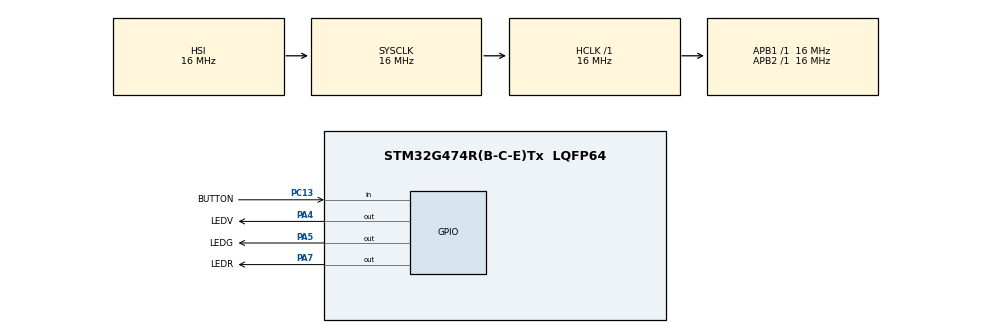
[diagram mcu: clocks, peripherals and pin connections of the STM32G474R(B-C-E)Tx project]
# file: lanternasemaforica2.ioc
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Mcu.Family=STM32G4
Mcu.Name=STM32G474R(B-C-E)Tx
Mcu.Package=LQFP64
NVIC.PriorityGroup=NVIC_PRIORITYGROUP_4
NVIC.TIM6_DAC_IRQn=true\:0\:0\:false\:false\:true\:true\:true\:true
PA4.GPIO_Label=LEDV
PA4.Signal=GPIO_Output
PA5.GPIO_Label=LEDG
PA5.Signal=GPIO_Output
PA7.GPIO_Label=LEDR
PA7.Signal=GPIO_Output
PC13.GPIO_Label=BUTTON
PC13.GPIO_PuPd=GPIO_NOPULL
PC13.Signal=GPIO_Input
ProjectManager.HeapSize=0x200
ProjectManager.StackSize=0x400
ProjectManager.TargetToolchain=STM32CubeIDE
RCC.AHBFreq_Value=16000000
RCC.APB1Freq_Value=16000000
RCC.APB1TimFreq_Value=16000000
RCC.APB2Freq_Value=16000000
RCC.APB2TimFreq_Value=16000000
RCC.CortexFreq_Value=16000000
RCC.EXTERNAL_CLOCK_VALUE=12288000
RCC.HCLKFreq_Value=16000000
RCC.HSE_VALUE=8000000
RCC.HSI48_VALUE=48000000
RCC.HSI_VALUE=16000000
RCC.LSE_VALUE=32768
RCC.SYSCLKFreq_VALUE=16000000
RCC.USBFreq_Value=64000000
RCC.VCOOutputFreq_Value=128000000
TIM6.PeriodNoDither=999
TIM6.Prescaler=15999
VP_SYS_VS_DBSignals.Mode=DisableDeadBatterySignals
VP_TIM6_VS_ClockSourceINT.Mode=Enable_Timer
board=custom

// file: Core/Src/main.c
/* USER CODE BEGIN Header */
/**
  ******************************************************************************
  * @file           : main.c
  * @brief          : Main program body
  ******************************************************************************
  * @attention
  *
  * Copyright (c) 2026 STMicroelectronics.
  * All rights reserved.
  *
  * This software is licensed under terms that can be found in the LICENSE file
  * in the root directory of this software component.
  * If no LICENSE file comes with this software, it is provided AS-IS.
  *
  ******************************************************************************
  */
/* USER CODE END Header */
#include "main.h"
#include "tim.h"
#include "gpio.h"

/* USER CODE BEGIN Includes */
#include "fsm_logic.h"
#include "tim.h"

/* USER CODE END Includes */

/* USER CODE BEGIN PD */
#define FSM_CYCLE_DURATION (10) //ogni 10 ms la funzione FSM_step viene chiamata

/* USER CODE END PD */

void SystemClock_Config(void);

int main(void)
{

  /* USER CODE BEGIN 1 */
  led_t led_rosso;
  led_t led_giallo;
  led_t led_verde;
  button_t button;
  timer_t timer;
  /* USER CODE END 1 */

  /* MCU Configuration--------------------------------------------------------*/
  /* Reset of all peripherals, Initializes the Flash interface and the Systick. */
  HAL_Init();

  /* Configure the system clock */
  SystemClock_Config();

  /* Initialize all configured peripherals */
  MX_GPIO_Init();
  MX_TIM6_Init();
  /* USER CODE BEGIN 2 */
  if(led_init(&led_rosso, LEDR_GPIO_Port, LEDR_Pin, LED_INIT_STATE_OFF)!=LED_OK){
    return -1;
  }
  if(led_init(&led_giallo, LEDG_GPIO_Port, LEDG_Pin, LED_INIT_STATE_OFF) != LED_OK){
    return -1;
  }
  if(led_init(&led_verde, LEDV_GPIO_Port, LEDV_Pin, LED_INIT_STATE_OFF) != LED_OK){
    return -1;
  }
  if(button_init(&button, BUTTON_GPIO_Port, BUTTON_Pin, BUTTON_INIT_STATE_OFF) != BUTTON_OK){
    return -1;
  }
  if(FSM_init(&led_rosso, &led_giallo, &led_verde, &button, &timer, FSM_CYCLE_DURATION) != FSM_OK){
    return -1;
  }
  if(timer_init(&timer, &htim6,16000000)!=TIMER_OK){
    return -1;
  }

  /* USER CODE END 2 */

  /* Infinite loop */
  /* USER CODE BEGIN WHILE */
  while (1)
  {
    if(FSM_step()!=FSM_OK){
      return -1;
    }
    /* USER CODE END WHILE */

  }
}

void SystemClock_Config(void)
{
  RCC_OscInitTypeDef RCC_OscInitStruct = {0};
  RCC_ClkInitTypeDef RCC_ClkInitStruct = {0};

  /** Configure the main internal regulator output voltage
  */
  HAL_PWREx_ControlVoltageScaling(PWR_REGULATOR_VOLTAGE_SCALE1);

  /** Initializes the RCC Oscillators according to the specified parameters
  * in the RCC_OscInitTypeDef structure.
  */
  RCC_OscInitStruct.OscillatorType = RCC_OSCILLATORTYPE_HSI;
  RCC_OscInitStruct.HSIState = RCC_HSI_ON;
  RCC_OscInitStruct.HSICalibrationValue = RCC_HSICALIBRATION_DEFAULT;
  RCC_OscInitStruct.PLL.PLLState = RCC_PLL_NONE;
  if (HAL_RCC_OscConfig(&RCC_OscInitStruct) != HAL_OK)
  {
    Error_Handler();
  }

  /** Initializes the CPU, AHB and APB buses clocks
  */
  RCC_ClkInitStruct.ClockType = RCC_CLOCKTYPE_HCLK|RCC_CLOCKTYPE_SYSCLK
                              |RCC_CLOCKTYPE_PCLK1|RCC_CLOCKTYPE_PCLK2;
  RCC_ClkInitStruct.SYSCLKSource = RCC_SYSCLKSOURCE_HSI;
  RCC_ClkInitStruct.AHBCLKDivider = RCC_SYSCLK_DIV1;
  RCC_ClkInitStruct.APB1CLKDivider = RCC_HCLK_DIV1;
  RCC_ClkInitStruct.APB2CLKDivider = RCC_HCLK_DIV1;

  if (HAL_RCC_ClockConfig(&RCC_ClkInitStruct, FLASH_LATENCY_0) != HAL_OK)
  {
    Error_Handler();
  }
}

void Error_Handler(void)
{
  __disable_irq();
  while (1)
  {
  }
}
